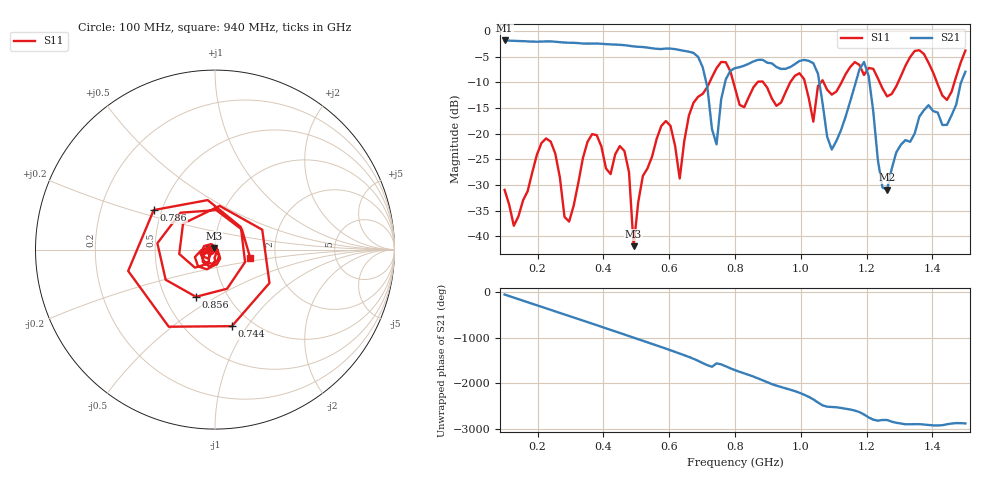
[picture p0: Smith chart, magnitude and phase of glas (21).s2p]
! NanoVNA-App
! Date: 2025-09-25 15:55:38
! Start: 100MHz Stop: 1,5GHz Points: 101
! S-Parameter data: F S11 S21 S12 S22
# Hz S RI R 50
!  Frequency  S11_Real  S11_Imag  S21_Real  S21_Imag  S12_Real  S12_Imag  S22_Real  S22_Imag
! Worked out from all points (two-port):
!   101 points, 100 MHz to 1.5 GHz, reference 50 ohm
!   highest |S21| = -1.80 dB at 100 MHz (marker M1); lowest = -30.9 dB at 1.262 GHz (marker M2)
!   |S21| within 3 dB of the highest: start of sweep to 684.1 MHz
!   lowest |S11| = -42.0 dB at 492 MHz (marker M3), VSWR 1.02, Z = 49.5 + j0.626 ohm
!   |S11| at or under -10 dB: start of sweep to 722.5 MHz; 795.3 MHz to 868 MHz (72.65 MHz wide, 8.74 % of centre); 886.1 MHz to 967.6 MHz (81.41 MHz wide, 8.78 % of centre) (the widest 3 of 7)
!   S12 and S22 are empty: the file has one direction only
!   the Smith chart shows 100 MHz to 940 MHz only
!   S11 on the Smith chart (normalised r, x): 100 MHz: 0.95, -0.01; 744 MHz: 0.81, -0.85; 786 MHz: 0.45, +0.24; 856 MHz: 0.71, -0.41; 940 MHz: 1.48, -0.14
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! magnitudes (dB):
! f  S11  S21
! 100 MHz  -31.0  -1.8
! 128 MHz  -38.0  -1.9
! 226 MHz  -20.9  -2.0
! 296 MHz  -37.2  -2.2
! 338 MHz  -24.7  -2.4
! 464 MHz  -23.4  -2.7
! 492 MHz  -42.0  -3.0
! 576 MHz  -18.5  -3.5
! 632 MHz  -28.8  -3.7
! 702 MHz  -12.2  -7.1
! 744 MHz  -7.2  -22.1
! 786 MHz  -7.8  -7.7
! 800 MHz  -11.1  -7.2
! 856 MHz  -10.9  -5.9
! 940 MHz  -13.9  -7.4
! 996 MHz  -8.2  -5.8
! 1.038 GHz  -17.7  -6.2
! 1.094 GHz  -12.4  -23.1
! 1.192 GHz  -8.5  -6.0
! 1.262 GHz  -12.7  -30.9
! 1.276 GHz  -12.2  -26.9
! 1.5 GHz  -3.8  -7.9
